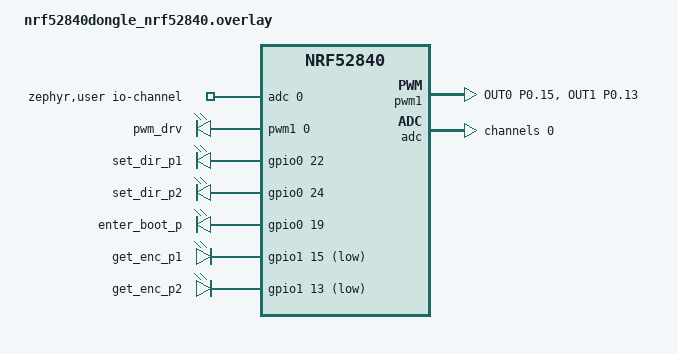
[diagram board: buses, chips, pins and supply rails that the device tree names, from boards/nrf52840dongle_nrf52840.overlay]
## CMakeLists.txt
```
# SPDX-License-Identifier: Apache-2.0

cmake_minimum_required(VERSION 3.20.0)
find_package(Zephyr REQUIRED HINTS $ENV{ZEPHYR_BASE})
project(MotorController)

set(CONTROLLER_PATH "MotorControllerFirmware/BrushedMotorControllerFirmware")

target_include_directories(app PRIVATE
     "${CONTROLLER_PATH}/include"
     "${CONTROLLER_PATH}/include/**"
     "src"
)

file(GLOB SRC_files_MC
     "${CONTROLLER_PATH}/include/*.c"
     "${CONTROLLER_PATH}/include/**/*.c"
)

file(GLOB SRC_files
     "src/*.c"
)

target_sources(app PRIVATE
     ${SRC_files_MC}
     ${SRC_files})

if ( CMAKE_COMPILER_IS_GNUCC )
     if ( CMAKE_C_COMPILER_VERSION LESS 13 )
          target_compile_options(app PRIVATE -Wno-unknown-pragmas)
     endif ()
endif ()
```

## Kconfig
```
# SPDX-License-Identifier: Apache-2.0
#
# Copyright (c) 2024 Jakub Mazur
#
menu "Wedka configurtion"
rsource "./MotorControllerFirmware/BrushedMotorControllerFirmware/Kconfig"

config TIME_BTWN_POS_CHECKS_MSEC
	int "Time in between checks if motors are at the desired position"
	default 1000

config AUTO_MEASUREMENTS
	bool "Perform automatic measurements and calulations in each point in matrix"
	default n

config MEASUREMENT_LENGTH
	int "number of points taken at each point in matrix"
	default 1
	depends on AUTO_MEASUREMENTS

endmenu
```

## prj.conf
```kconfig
# SPDX-License-Identifier: Apache-2.0
#
# Copyright (c) 2024 Maciej Baczmanski, Michal Kawiak, Jakub Mazur
#

CONFIG_ASSERT=y
CONFIG_SHELL=y

CONFIG_GPIO=y
CONFIG_PWM=y
CONFIG_PWM_SHELL=n

# For Printk()
CONFIG_PRINTK=y
CONFIG_CONSOLE=y

# NVS
CONFIG_FLASH=y
CONFIG_FLASH_PAGE_LAYOUT=y
CONFIG_NVS=y
CONFIG_MPU_ALLOW_FLASH_WRITE=y

# Communication protocols
CONFIG_UART_SHELL_SUPPORT=y
CONFIG_BT_SUPPORT=n

# CONFIG_SPEED_MAX_MRPM=83000
# CONFIG_GEARSHIFT_RATIO=131
# CONFIG_ENC_STEPS_PER_ROTATION=64

CONFIG_POS_CONTROL_PRECISION_MODIFIER=480
CONFIG_POS_CONTROL_HISTERESIS_PERCENTAGE=40
CONFIG_MIN_SPEED_MODIFIER=26


CONFIG_ENC_TIMER_PERIOD_MS=50

CONFIG_SUPPORTED_CHANNEL_NUMBER=2

CONFIG_KP_NUMERATOR_FOR_SPEED_IN_POS=5
CONFIG_KP_DENOMINATOR_FOR_SPEED_IN_POS=10

CONFIG_KP_NUMERATOR_FOR_POS=5
CONFIG_KP_DENOMINATOR_FOR_POS=2

CONFIG_POS_SOFT_START=y

CONFIG_ADC=y

CONFIG_SPEED_CONTROL_ENABLE=n
CONFIG_POS_CONTROL_ENABLE=y
```

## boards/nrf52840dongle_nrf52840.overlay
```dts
&uart0 {
	status="disabled";
};

/ {
	zephyr,user {
		io-channels = <&adc 0>;
	};

	pwmdrv {
		compatible = "pwm-leds";
		pwm_drv: pwm_drv {
			pwms = <&pwm1 0 PWM_MSEC(20) 0>,
			       <&pwm1 1 PWM_MSEC(20) 0>;
		};
	};

	gpio_pins {
		compatible = "gpio-leds";
		set_dir_p1: set_dir_p1 {
			gpios = <&gpio0 22 GPIO_ACTIVE_HIGH>,
				<&gpio1 0 GPIO_ACTIVE_HIGH>;
		};

		set_dir_p2: set_dir_p2 {
			gpios = <&gpio0 24 GPIO_ACTIVE_HIGH>,
				<&gpio0  9 GPIO_ACTIVE_HIGH>;
		};

		enter_boot_p: enter_boot_p {
			gpios = <&gpio0 19 GPIO_ACTIVE_HIGH>;
		};

		get_enc_p1: get_enc_p1 {
			gpios = <&gpio1 15 (GPIO_PULL_UP | GPIO_ACTIVE_LOW)>,
				<&gpio1 10 (GPIO_PULL_UP | GPIO_ACTIVE_LOW)>;
		};

		get_enc_p2: get_enc_p2 {
			gpios = <&gpio1 13 (GPIO_PULL_UP | GPIO_ACTIVE_LOW)>,
				<&gpio0 10 (GPIO_PULL_UP | GPIO_ACTIVE_LOW)>;
		};
	};

	aliases {
		pwm-drv = &pwm_drv;
		set-dir-p1 = &set_dir_p1;
		set-dir-p2 = &set_dir_p2;
		enter-boot-p = &enter_boot_p;
		get-enc-p1 = &get_enc_p1;
		get-enc-p2 = &get_enc_p2;
	};

};

&pinctrl{
	pwm1_default: pwm1_default {
		group1 {
			psels = <NRF_PSEL(PWM_OUT0, 0, 15)>,
				<NRF_PSEL(PWM_OUT1, 0, 13)>;
			nordic,invert;
		};
	};
	pwm1_sleep: pwm1_sleep {
		group1 {
			psels = <NRF_PSEL(PWM_OUT0, 0, 15)>,
				<NRF_PSEL(PWM_OUT1, 0, 13)>;
			low-power-enable;
		};
	};
};

&pwm1 {
	status = "okay";
	pinctrl-0 = <&pwm1_default>;
	pinctrl-1 = <&pwm1_sleep>;
	pinctrl-names = "default", "sleep";

};

&adc {
	#address-cells = <1>;
	#size-cells = <0>;
	status = "okay";
	channel@0 {
		reg = <0>;
		zephyr,gain = "ADC_GAIN_1_6";
		zephyr,reference = "ADC_REF_INTERNAL";
		zephyr,acquisition-time = <ADC_ACQ_TIME_DEFAULT>;
		zephyr,input-positive = <NRF_SAADC_AIN7>; /* P0.31 nRF52840 */
		zephyr,resolution = <12>;
	};
};
```

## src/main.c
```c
// SPDX-License-Identifier: Apache-2.0
// Copyright (c) 2024 Maciej Baczmanski, Michal Kawiak, Jakub Mazur

#include <zephyr/kernel.h>

#include <zephyr/usb/usb_device.h>

#if defined(CONFIG_BT_SUPPORT)
#include "ble_gatt_service.h"
#endif

#include <string.h>

#include "driver.h"
#include "storage.h"
#include "scan_adc.h"

#if defined(CONFIG_UART_SHELL_SUPPORT)
#include <zephyr/drivers/uart.h>
#endif

int main(void)
{
	init_pwm_motor_driver();

#if defined(CONFIG_BT_SUPPORT)
	init_bt();
#endif

#if defined(CONFIG_AUTO_MEASUREMENTS)
	init_adc_scan();
#endif
}
```

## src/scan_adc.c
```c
// SPDX-License-Identifier: Apache-2.0
// Copyright (c) 2024 Jakub Mazur
#if defined(CONFIG_AUTO_MEASUREMENTS)

#include <zephyr/drivers/adc.h>
#include "scan_adc.h"


static const struct adc_dt_spec adc_channel = ADC_DT_SPEC_GET(DT_PATH(zephyr_user));

static bool is_initialised; // False by default

int16_t buf;
struct adc_sequence sequence = {
	.buffer = &buf,
	/* buffer size in bytes, not number of samples */
	.buffer_size = sizeof(buf),
	//Optional
	//.calibrate = true,
};

void init_adc_scan(void)
{
	__ASSERT(adc_is_ready_dt(&adc_channel),
		"ADC controller devivce %s not ready", adc_channel.dev->namel);

	__ASSERT_EVAL((void) adc_channel_setup_dt(&adc_channel),
		int r = adc_channel_setup_dt(&adc_channel),
		r < 0, "Could not setup channel #%d (%d)", 0, r);

	__ASSERT_EVAL((void) adc_sequence_init_dt(&adc_channel, &sequence),
		int r = adc_sequence_init_dt(&adc_channel, &sequence),
		r < 0, "Could not initialize sequnce");

	is_initialised = true;
}

scan_return_codes_t perform_meas(int *out_val)
{
	int err;

	if (!is_initialised) {
		return ADC_NOT_INITIALISED;
	}

	err = adc_read(adc_channel.dev, &sequence);
	if (err < 0) {
		return ADC_READ_FAIL;
	}

	*out_val = buf;

	err = adc_raw_to_millivolts_dt(&adc_channel, out_val);

	/* conversion to mV may not be supported, skip if not */
	if (err < 0) {
		return ADC_CONVERSION_FAIL;
	}

	return SCAN_SUCCESS;
}
#endif
```

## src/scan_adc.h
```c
/* SPDX-License-Identifier: Apache-2.0
 *
 * Copyright (c) 2024 Jakub Mazur
 *
 */
#if defined(CONFIG_AUTO_MEASUREMENTS)
# include "scanner_return_codes.h"
void init_adc_scan(void);
scan_return_codes_t perform_meas(int *out_val);
#endif
```

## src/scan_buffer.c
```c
// SPDX-License-Identifier: Apache-2.0
// Copyright (c) 2024 Jakub Mazur
#include <zephyr/kernel.h>
#include <stdlib.h>

# include "scan_buffer.h"

static unsigned int buffer_size; // 0 by default

static struct ScanPoint *scan_buffer;

scan_return_codes_t add_point(struct ScanPoint new_point)
{
	if (buffer_size == 0) {
		scan_buffer = malloc(1 * sizeof(struct ScanPoint));
		scan_buffer[0] = new_point;
		buffer_size = 1;
	} else {
		buffer_size += 1;
		scan_buffer = realloc(scan_buffer, buffer_size * sizeof(struct ScanPoint));
		scan_buffer[buffer_size-1] = new_point;
	}

	return SCAN_SUCCESS;
}

unsigned int get_buffer_size(void)
{
	return buffer_size;
}

scan_return_codes_t get_buffer(struct ScanPoint **first_point_out)
{
	if (buffer_size == 0) {
		return BUFF_EMPTY;
	}

	*first_point_out = scan_buffer;

	return SCAN_SUCCESS;
}

scan_return_codes_t clear_buffer(void)
{
	if (buffer_size == 0) {
		return BUFF_EMPTY;
	}
	buffer_size = 0;
	free(scan_buffer);

	return SCAN_SUCCESS;
}
```

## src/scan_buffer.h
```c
/* SPDX-License-Identifier: Apache-2.0
 *
 * Copyright (c) 2024 Jakub Mazur
 *
 */
#pragma once
#include "scanner_return_codes.h"

struct ScanPoint {
	int yaw;
	int pitch;
#if defined(CONFIG_AUTO_MEASUREMENTS)
	int meas_value;
#endif
};

scan_return_codes_t add_point(struct ScanPoint new_point);

unsigned int get_buffer_size(void);

scan_return_codes_t get_buffer(struct ScanPoint **first_point_out);

scan_return_codes_t clear_buffer(void);
```

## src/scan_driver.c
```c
// SPDX-License-Identifier: Apache-2.0
// Copyright (c) 2024 Jakub Mazur
#include <zephyr/kernel.h>

#include <stdlib.h>

#include "scan_driver.h"
#include "scanner_return_codes.h"
#include "scan_adc.h"

// TODO - error handling, both from driver and proper returns in this functions!

#define SCANNER_AXES 2

static struct ScannerDefinition scanner = {
	.status = Uninitialised
};

static enum MotorDirection scanning_direction = FORWARD;

#if defined(CONFIG_AUTO_MEASUREMENTS)
struct k_timer pause_timer;
#endif
struct k_timer wait_for_point_timer;

#pragma region work_declarations
static void point_achieved_handler(struct  k_work *dummy);
static void wait_for_point_handler(struct  k_work *dummy);
K_WORK_DEFINE(point_achieved_work, point_achieved_handler);
K_WORK_DEFINE(wait_for_point_work, wait_for_point_handler);
#pragma endregion

static const struct DriverVersion scanner_ver = {
	.major = 1,
	.minor = 0,
};

static int target[SCANNER_AXES];

static scan_return_codes_t finish_scan(void)
{
	scanner.status = Finished;
	// TODO, disable motors, etc.

	return SCAN_SUCCESS;
}

static scan_return_codes_t go_to_point(void)
{
	return_codes_t ret;
	// TODO - this could be moved to megaturbomacro to "primary" motor driver
	// printk("Go To point %d, %d\n", target[Yaw], target[Pitch]);

	for (int i = 0; i < SCANNER_AXES; ++i) {
		ret = target_position_set(target[i], scanner.axes[i].channel);

		if (ret != SUCCESS) {
			return SCAN_DRIVER_ERROR;
		}
	}

	k_timer_start(&wait_for_point_timer, K_MSEC(CONFIG_TIME_BTWN_POS_CHECKS_MSEC), K_NO_WAIT);
	return SCAN_SUCCESS;
}

static void wait_for_point_handler(struct  k_work *dummy)
{
	return_codes_t ret;
	scan_return_codes_t scan_ret;
	bool tagets_achieved = true; // Target achieved on BOTH channels!

	// If someone decided to break the scan prematurely:
	if (scanner.status == Stopping) {
		scan_ret = finish_scan();
		if (scan_ret != SCAN_SUCCESS) {
			scanner.status = Error;
			return;
		}
		return;
	}

	for (int i = 0; i < SCANNER_AXES; ++i) {
		// printk("CH: %d, v: %d\n", scanner.axes[i].channel, pos_value);

		if (!is_target_achieved(scanner.axes[i].channel)) {
			// Target NOT Achieved on one of the channels!

			if (!get_motor_off_on(scanner.axes[i].channel)) {
				ret = motor_on(FORWARD, scanner.axes[i].channel);
				if (ret != SUCCESS) {
					scanner.status = Error;
					return;
				}
			}

			tagets_achieved = false;
			break; // Start only one channel at the time (due to pwm bug)
			// when this channel hits the target, if will be skipped and next channel
			// will start
		} else {
			ret = motor_off(scanner.axes[i].channel);
			if (ret != SUCCESS) {
				scanner.status = Error;
				return;
			}
		}
	}

	if (tagets_achieved) {
		// Point is achieved - previous loop was finished without setting
		// tagets_acheved to false!
		// printk("Point Achieved!\n");
		for (int i = 0; i < SCANNER_AXES; ++i) {
			ret = motor_off(scanner.axes[i].channel);
			if (ret != SUCCESS) {
				scanner.status = Error;
				return;
			}
		}
#if defined(CONFIG_AUTO_MEASUREMENTS)
		k_timer_start(&pause_timer, K_MSEC(scanner.wait_time), K_NO_WAIT);
#else
		// Start function that handles situation, when target is achieved!
		k_work_submit(&point_achieved_work);
#endif
		return;
	}

	// if target is still not achieved, start timer that will run this function again!
	k_timer_start(&wait_for_point_timer,
			K_MSEC(CONFIG_TIME_BTWN_POS_CHECKS_MSEC),
			K_NO_WAIT);
}

static void point_achieved_handler(struct  k_work *dummy)
{
	scan_return_codes_t scan_ret;
	struct ScanPoint new_point;

	if (scanner.status == Stopping) {
		scan_ret = finish_scan();
		if (scan_ret != SCAN_SUCCESS) {
			scanner.status = Error;
			return;
		}
		return;
	}

	scan_ret = get_current_point(&new_point);

	if (scan_ret != SCAN_SUCCESS) {
		scanner.status = Error;
		return;
	}

	scan_ret = add_point(new_point);
	if (scan_ret != SCAN_SUCCESS) {
		scanner.status = Error;
		return;
	}

	if (scanning_direction == FORWARD) {
		target[Yaw] += scanner.axes[Yaw].delta;
	} else if (scanning_direction == BACKWARD) {
		target[Yaw] -= scanner.axes[Yaw].delta;
	}

	// If row was ended
	if ((target[Yaw] > scanner.axes[Yaw].end && scanning_direction == FORWARD) ||
	    (target[Yaw] < scanner.axes[Yaw].start && scanning_direction == BACKWARD)) {

		// undo last step
		if (scanning_direction == FORWARD) {
			target[Yaw] -= scanner.axes[Yaw].delta;
		} else if (scanning_direction == BACKWARD) {
			target[Yaw] += scanner.axes[Yaw].delta;
		}

		// move to next row
		target[Pitch] += scanner.axes[Pitch].delta;

		// change scanning direction
		if (scanning_direction == FORWARD) {
			scanning_direction = BACKWARD;
		} else if (scanning_direction == BACKWARD) {
			scanning_direction = FORWARD;
		}
	}

	if (target[Pitch] > scanner.axes[Pitch].end) {
		// scanning is finished!
		// printk("Finished!\n");
		scan_ret = finish_scan();
		if (scan_ret != SCAN_SUCCESS) {
			scanner.status = Error;
			return;
		}

		return;
	}

#if defined(CONFIG_AUTO_MEASUREMENTS)
	scan_ret = go_to_point();
	if (scan_ret != SCAN_SUCCESS) {
		scanner.status = Error;
		return;
	}
#endif
#if !defined(CONFIG_AUTO_MEASUREMENTS)
	scanner.status = WaitingForContinuation;
	return;
#endif
}

scan_return_codes_t get_current_point(struct ScanPoint *new_point)
{
	return_codes_t ret;
#if defined(CONFIG_AUTO_MEASUREMENTS)
	int out_val;
	scanner_return_codes_t scan_ret;

	scan_ret = perform_meas(&out_val);
	if (scan_ret != SCAN_SUCCESS) {
		return SCAN_DRIVER_ERROR;
	}
#endif

	uint32_t pos_value;

	ret = position_get(&pos_value, scanner.axes[Yaw].channel);
	if (ret != SUCCESS) {
		return SCAN_DRIVER_ERROR;
	}

	new_point->yaw = pos_value;
	ret = position_get(&pos_value, scanner.axes[Pitch].channel);
	if (ret != SUCCESS) {
		return SCAN_DRIVER_ERROR;
	}

	new_point->pitch = pos_value;
#if defined(CONFIG_AUTO_MEASUREMENTS)
	new_point->meas_value = out_val;
#endif
	return SCAN_SUCCESS;
}

#if !defined(CONFIG_AUTO_MEASUREMENTS)
scan_return_codes_t move_to_next_point(void)
{
	scan_return_codes_t scan_ret;

	if (scanner.status != WaitingForContinuation) {
		return SCAN_WRONG_STATUS;
	}

	scanner.status = Scanning;

	scan_ret = go_to_point();
	if (scan_ret != SCAN_SUCCESS) {
		scanner.status = Error;
		return SCAN_DRIVER_ERROR;
	}

	return SCAN_SUCCESS;
}
#endif



#if defined(CONFIG_AUTO_MEASUREMENTS)
static void pause_timer_handler_wrapper(struct k_timer *dummy)
{
	k_work_submit(&point_achieved_work);
}
K_TIMER_DEFINE(pause_timer, pause_timer_handler_wrapper, NULL);
#endif

static void wait_for_point_wrapper(struct k_timer *dummy)
{
	k_work_submit(&wait_for_point_work);
}

K_TIMER_DEFINE(wait_for_point_timer, wait_for_point_wrapper, NULL);

scan_return_codes_t define_scanner(struct ScannerDefinition new_scanner)
{
	return_codes_t ret;

	if (scanner.status != Ready && scanner.status != Uninitialised) {
		return SCAN_WRONG_STATUS;
	}

	scanner = new_scanner;

	// prepare driver
	ret = mode_set(POSITION);
	if (ret != SUCCESS) {
		return SCAN_DRIVER_ERROR;
	}
	ret = motor_off(CH0);
	if (ret != SUCCESS) {
		return SCAN_DRIVER_ERROR;
	}
	ret = motor_off(CH1);
	if (ret != SUCCESS) {
		return SCAN_DRIVER_ERROR;
	}

	scanner.status = Ready;

	return SCAN_SUCCESS;
}

scan_return_codes_t start_scanner(void)
{
	scan_return_codes_t scan_ret;

	if (scanner.status != Ready) {
		return SCAN_WRONG_STATUS;
	}

	// printk("Starting!");
	target[Yaw] = scanner.axes[Yaw].start;
	target[Pitch] = scanner.axes[Pitch].start;
	scan_ret = go_to_point();

	if (scan_ret != SCAN_SUCCESS) {
		return scan_ret;
	}

	scanner.status = Scanning;

	return SCAN_SUCCESS;
}

enum ScannerStatus get_status(void)
{
	return scanner.status;
}

scan_return_codes_t reset_scanner(void)
{
	if (scanner.status == Finished || scanner.status == Error) {
		scanner.status = Ready;

		return SCAN_SUCCESS;
	}

	return SCAN_WRONG_STATUS;
}

scan_return_codes_t stop_scanner(void)
{
	if (scanner.status == WaitingForContinuation) {
		scanner.status = Finished;

		return SCAN_SUCCESS;
	}

	if (scanner.status == Scanning) {
		scanner.status = Stopping;

		return SCAN_SUCCESS;
	}

	return SCAN_WRONG_STATUS;
}

struct DriverVersion get_scanner_version(void)
{
	return scanner_ver;
}
```

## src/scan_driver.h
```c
/* SPDX-License-Identifier: Apache-2.0
 *
 * Copyright (c) 2024 Jakub Mazur
 *
 */
#include "driver.h"
#include "scanner_return_codes.h"
#include "scan_buffer.h"

struct ScannerAxis {
	int32_t start;
	int32_t end;
	uint32_t delta;
	enum ChannelNumber channel;
};

enum ScannerAxes {
	Yaw,
	Pitch
};

enum ScannerStatus {
	Uninitialised,
	Ready,
	Scanning,
#if !defined(CONFIG_AUTO_MEASUREMENTS)
	WaitingForContinuation,
#endif
	Stopping,
	Finished,
	Error,
};

// source:
// https://www.linkedin.com/pulse/mapping-enum-string-c-language-sathishkumar-duraisamy/
static const char * const status_names[] = {
	[Uninitialised] = "Uninitialised",
	[Ready] = "Ready",
	[Scanning] = "Scanning",
	[WaitingForContinuation] = "WaitingForContinuation",
	[Stopping] = "Stopping",
	[Finished] = "Finished",
	[Error] = "Error",
};

struct ScannerDefinition {
	struct ScannerAxis axes[2];
	enum ScannerStatus status;
#if defined(CONFIG_AUTO_MEASUREMENTS)
	unsigned int wait_time;
#endif
};

scan_return_codes_t get_current_point(struct ScanPoint *new_point);

scan_return_codes_t move_to_next_point(void);

scan_return_codes_t define_scanner(struct ScannerDefinition new_scanner);

scan_return_codes_t start_scanner(void);

enum ScannerStatus get_status(void);

scan_return_codes_t reset_scanner(void);

scan_return_codes_t stop_scanner(void);

char *get_status_as_string(enum ScannerStatus status);

struct DriverVersion get_scanner_version(void);
```

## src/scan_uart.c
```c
// SPDX-License-Identifier: Apache-2.0
// Copyright (c) 2024 Jakub Mazur
#include <zephyr/kernel.h>
#include <zephyr/shell/shell.h>
#include <stdlib.h>

#include "scan_adc.h"
#include "scan_driver.h"
#include "scanner_return_codes.h"
#include "scan_buffer.h"

static struct ScannerDefinition new_scanner;

struct DefineStatus {
	bool Pitch;
	bool Yaw;
#if defined(CONFIG_AUTO_MEASUREMENTS)
	bool Time;
#endif
};

static struct DefineStatus define_status = {
	false,
	false,
#if defined(CONFIG_AUTO_MEASUREMENTS)
	false
#endif
};

static int define_axis(struct ScannerAxis new_axis, enum ScannerAxes axis)
{
	new_scanner.axes[axis] = new_axis;

	return 0;
}

static int parse_args_to_axis(char *argv[], struct ScannerAxis *out_axis)
{
	out_axis->channel = (enum ChannelNumber)strtol(argv[1], NULL, 10);
	out_axis->start = (int)strtol(argv[2], NULL, 10);
	out_axis->end = (int)strtol(argv[3], NULL, 10);
	out_axis->delta = (unsigned int)strtol(argv[4], NULL, 10);

	return 0;
}

static int cmd_scanner_define_yaw(const struct shell *shell, size_t argc, char *argv[])
{
	struct ScannerAxis new_axis;

	parse_args_to_axis(argv, &new_axis);
	define_axis(new_axis, Yaw);

	shell_fprintf(shell, SHELL_NORMAL,
		      "New scanner Yaw axis defined successfully!\n"
		      );

	define_status.Yaw = true;

	return 0;
}

static int cmd_scanner_define_pitch(const struct shell *shell, size_t argc, char *argv[])
{
	struct ScannerAxis new_axis;

	parse_args_to_axis(argv, &new_axis);
	define_axis(new_axis, Pitch);

	shell_fprintf(shell, SHELL_NORMAL,
		      "New scanner Pitch axis defined successfully!\n"
		      );
	define_status.Pitch = true;

	return 0;
}

#if defined(CONFIG_AUTO_MEASUREMENTS)
static int cmd_scanner_define_time(const struct shell *shell, size_t argc, char *argv[])
{
	new_scanner.wait_time = (unsigned int)strtol(argv[1], NULL, 10);

	shell_fprintf(shell, SHELL_NORMAL,
		      "New scanner wait ime between points specified to %d!\n",
		      new_scanner.wait_time
		      );

	define_status.Time = true;

	return 0;
}
#endif

static int cmd_scanner_ready(const struct shell *shell, size_t argc, char *argv[])
{
	if (!define_status.Yaw) {
		shell_fprintf(shell, SHELL_ERROR, "Yaw is undefined!\n");
		return 0;
	}

	if (!define_status.Pitch) {
		shell_fprintf(shell, SHELL_ERROR, "Pitch is undefined!\n");
		return 0;
	}

#if defined(CONFIG_AUTO_MEASUREMENTS)
	if (!define_status.Time) {

		shell_fprintf(shell, SHELL_ERROR, "Delta Time is undefined!\n");
		return 0;
	}
#endif

	scan_return_codes_t scan_ret;

	scan_ret = define_scanner(new_scanner);

	switch (scan_ret) {
	case SCAN_SUCCESS:
		shell_fprintf(shell, SHELL_NORMAL, "Successfully defined scanner!\n");
		// TODO - write exact scanner sepcification
	return 0;
	case SCAN_WRONG_STATUS:
		shell_fprintf(shell, SHELL_ERROR, "Scanner is in wrong status!\n");
	return 0;
	default:
		shell_fprintf(shell, SHELL_ERROR, "Other error - %d\n", scan_ret);
	return 0;
	}
}

static int cmd_scanner_start(const struct shell *shell, size_t argc, char *argv[])
{
	scan_return_codes_t scan_ret;

	scan_ret = start_scanner();

	switch (scan_ret) {
	case SCAN_SUCCESS:
		shell_fprintf(shell, SHELL_NORMAL, "Successfully started scan!\n");
	return 0;
	case SCAN_WRONG_STATUS:
		shell_fprintf(shell, SHELL_ERROR, "Scanner is in wrong status!\n");
	return 0;
	default:
		shell_fprintf(shell, SHELL_ERROR, "Other error - %d\n", scan_ret);
	return 0;
	}
}

static int cmd_scanner_get_status(const struct shell *shell, size_t argc, char *argv[])
{
	enum ScannerStatus ret_status = get_status();

	shell_fprintf(shell, SHELL_NORMAL, "status: %s\n", status_names[ret_status]);
	return 0;
}

static int cmd_scanner_dump(const struct shell *shell, size_t argc, char *argv[])
{
	unsigned int buff_size;
	scan_return_codes_t ret;

	struct ScanPoint *buff;

	buff_size = get_buffer_size();

	if (buff_size == 0) {
		shell_fprintf(shell, SHELL_NORMAL, "Buffer is empty!\n");
	} else {
		ret = get_buffer(&buff);
		if (ret != SCAN_SUCCESS) {
			shell_fprintf(shell, SHELL_NORMAL, "Couldn't get buffer! - %d\n", ret);
			return 0;
		}

		shell_fprintf(shell, SHELL_NORMAL, "Dumping last %d points!\n", buff_size);

		for (unsigned int i = 0; i < buff_size; ++i) {
#if defined(CONFIG_AUTO_MEASUREMENTS)
			shell_fprintf(shell, SHELL_NORMAL, "Yaw: %d, Pitch: %d, Value: %d\n",
				      buff[i].yaw,
				      buff[i].pitch,
				      buff[i].meas_value);
#endif
#if !defined(CONFIG_AUTO_MEASUREMENTS)
			shell_fprintf(shell, SHELL_NORMAL, "Yaw: %d, Pitch: %d\n",
				      buff[i].yaw,
				      buff[i].pitch);
#endif
		}

		ret = clear_buffer();
		if (ret != SCAN_SUCCESS) {
			shell_fprintf(shell, SHELL_NORMAL, "Couldn't clear buffer! - %d\n", ret);
			return 0;
		}
	}

	if (get_status() == Finished) {
		ret = reset_scanner();
		if (ret != SCAN_SUCCESS) {
			shell_fprintf(shell, SHELL_NORMAL,
				      "Couldn't reset scanner status! - %d\n", ret);
			return 0;
		}
	}

	return 0;
}


static int cmd_get_point(const struct shell *shell, size_t argc, char *argv[])
{
	scan_return_codes_t ret;
	struct ScanPoint new_point;

	ret = get_current_point(&new_point);

	if (ret != SCAN_SUCCESS) {
		shell_fprintf(shell, SHELL_NORMAL, "Couldn't get buffer! - %d\n", ret);
		return 0;
	}

	shell_fprintf(shell, SHELL_NORMAL, "Yaw: %d, Pitch: %d\n",
			new_point.yaw,
			new_point.pitch);

	return 0;
}

static int cmd_next_point(const struct shell *shell, size_t argc, char *argv[])
{
	scan_return_codes_t ret;

	ret = move_to_next_point();

	if (ret != SCAN_SUCCESS) {
		shell_fprintf(shell, SHELL_NORMAL, "Couldn't move to next point! - %d\n", ret);
		return 0;
	}

	shell_fprintf(shell, SHELL_NORMAL, "successfully started movement to next point!\n");

	return 0;
}

static int cmd_scanner_stop(const struct shell *shell, size_t argc, char *argv[])
{
	scan_return_codes_t ret;

	ret = stop_scanner();

	if (ret != SCAN_SUCCESS) {
		shell_fprintf(shell, SHELL_NORMAL, "Couldn't stop the scanner! - %d\n", ret);
		return 0;
	}

	shell_fprintf(shell, SHELL_NORMAL, "successfully stopped scanner!\n");

	return 0;
}

static int cmd_scan_version(const struct shell *shell, size_t argc, char *argv[])
{
	const struct DriverVersion tmp_drv_ver = get_driver_version();
	const struct DriverVersion tmp_scan_ver = get_scanner_version();

	shell_fprintf(shell, SHELL_ERROR,
		      "Motor Driver version: %d.%d\n"
		      "Scanner version: %d.%d",
		      tmp_drv_ver.major, tmp_drv_ver.minor,
		      tmp_scan_ver.major, tmp_scan_ver.minor);

	return 0;
}

SHELL_STATIC_SUBCMD_SET_CREATE(sub_scanner_define,
	SHELL_CMD_ARG(yaw, NULL,
		      "Define yaw scanning axis.\n"
		      "Args: <HW channel> <start deg> <stop deg> <delta deg>",
		      cmd_scanner_define_yaw, 5, 0),
	SHELL_CMD_ARG(pitch, NULL,
		      "Define pitch scanning axis.\n"
		      "Args: <HW channel> <start deg> <stop deg> <delta deg>",
		      cmd_scanner_define_pitch, 5, 0),
#if defined(CONFIG_AUTO_MEASUREMENTS)
	SHELL_CMD_ARG(time, NULL,
		      "Define wait time between moving and scanning (in msec)",
		      cmd_scanner_define_time, 2, 0),
#endif
	SHELL_SUBCMD_SET_END
);

SHELL_STATIC_SUBCMD_SET_CREATE(sub_scanner,
	SHELL_CMD(define, &sub_scanner_define, "Define scaner parameters", NULL),
	SHELL_CMD(ready, NULL,
		  "Check scanner readiness and initialise prepared scanner", cmd_scanner_ready),
	SHELL_CMD(start, NULL, "Start Scanner", cmd_scanner_start),
	SHELL_CMD(status, NULL, "Get current status", cmd_scanner_get_status),
	SHELL_CMD(get_point, NULL,
		  "Get current point and perform measurement outside of normal operation",
		  cmd_get_point),
#if !defined(CONFIG_AUTO_MEASUREMENTS)
	SHELL_CMD(next_point, NULL, "Continue to the next point", cmd_next_point),
#endif
	SHELL_CMD(dump, NULL,
		  "Dump points measured from previous dump (or measuement beginning), "
		  "clear existing buffer, and if measurement is finished, reset scanner to "
		  "ready status",
		  cmd_scanner_dump),
	SHELL_CMD(stop, NULL,
		  "Finish scanning prematurely",
		  cmd_scanner_stop),
	SHELL_CMD(version, NULL,
		  "Get software version of scanner and motor driver",
		  cmd_scan_version),
	SHELL_SUBCMD_SET_END
);

SHELL_CMD_REGISTER(scan, &sub_scanner, "Scanner commands:", NULL);
```

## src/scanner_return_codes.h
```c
/* SPDX-License-Identifier: Apache-2.0
 *
 * Copyright (c) 2024 Maciej Baczmanski, Michal Kawiak, Jakub Mazur
 */
#pragma once

typedef enum {
	SCAN_SUCCESS = 0,
	SCAN_DRIVER_ERROR = 1,

	SCAN_WRONG_STATUS = 2,

	ADC_READ_FAIL = 3,
	ADC_CONVERSION_FAIL = 4,
	ADC_NOT_INITIALISED = 5,

	BUFF_EMPTY = 6,

} scan_return_codes_t;
```
